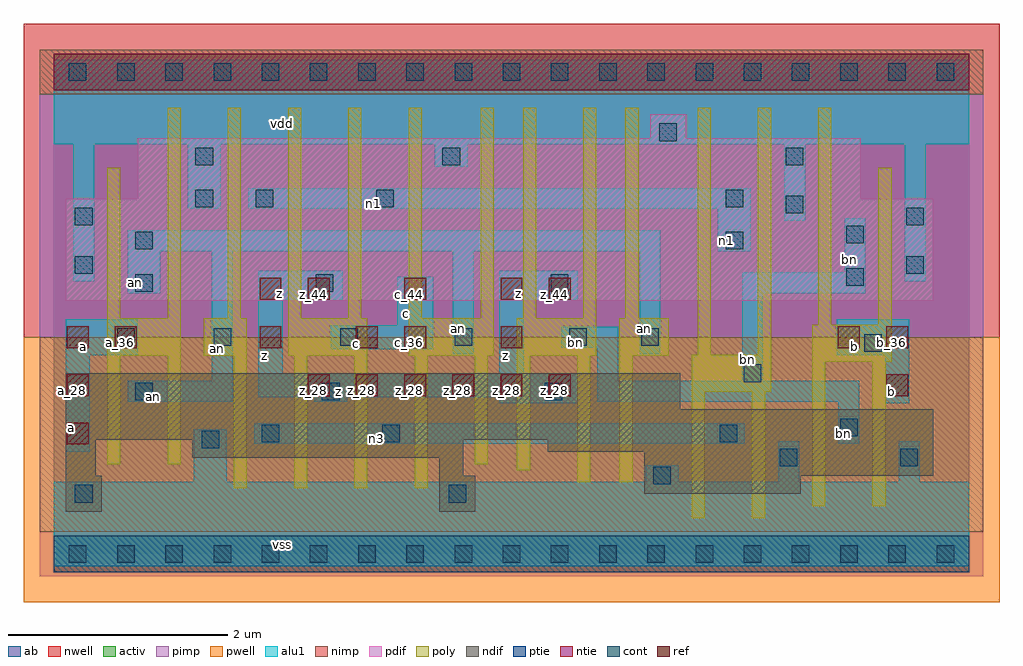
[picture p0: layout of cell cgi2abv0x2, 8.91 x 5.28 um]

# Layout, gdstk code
import gdstk
lib = gdstk.Library(unit=1e-6, precision=2.5e-09)
def R(c, l, rs):  # rectangles x0, y0, x1, y1
    for r in rs: c.add(gdstk.rectangle(r[:2], r[2:], *l))
def A(c, l, x, y, w, h, nx, ny, dx, dy):  # array of equal rectangles
    R(c, l, [(x+i*dx, y+j*dy, x+i*dx+w, y+j*dy+h) for i in range(nx) for j in range(ny)])
ndif = (3, 0)
pdif = (4, 0)
ntie = (5, 0)
ptie = (6, 0)
ref = (24, 0)
cont = (25, 0)
pwell = (41, 0)
nwell = (42, 0)
activ = (43, 0)
pimp = (44, 0)
nimp = (45, 0)
poly = (46, 0)
alu1 = (49, 0)
ab = (63, 0)

cgi2abv0x2 = lib.new_cell('cgi2abv0x2')
R(cgi2abv0x2, ndif, [(0.11,0.385,0.44,0.715), (3.52,0.385,3.85,0.715), (5.39,0.55,6.82,0.715), (0.11,0.715,0.385,1.045), (3.52,0.715,3.74,0.88), (5.39,0.715,8.03,0.935), (1.265,0.88,3.74,1.045), (4.51,0.935,8.03,1.045), (0.11,1.045,8.03,1.32), (0.11,1.32,5.72,1.65)])
R(cgi2abv0x2, pdif, [(0.11,2.31,8.03,3.245), (0.77,3.245,7.37,3.795), (5.445,3.795,5.775,4.015)])
R(cgi2abv0x2, ntie, [(0,4.235,8.36,4.565)])
R(cgi2abv0x2, ptie, [(0,-0.165,8.36,0.165)])
A(cgi2abv0x2, ref, 0.12, 1, 0.2, 0.2, 1, 3, 0, 0.44)
A(cgi2abv0x2, ref, 2.32, 1.44, 0.2, 0.2, 6, 1, 0.44, 0)
A(cgi2abv0x2, ref, 2.32, 2.32, 0.2, 0.2, 3, 1, 0.88, 0)
R(cgi2abv0x2, ref, [(7.6,1.44,7.8,1.64), (0.56,1.88,0.76,2.08), (1.88,1.88,2.08,2.08), (2.76,1.88,2.96,2.08), (3.2,1.88,3.4,2.08), (4.08,1.88,4.28,2.08), (7.16,1.88,7.36,2.08), (7.6,1.88,7.8,2.08), (1.88,2.32,2.08,2.52), (4.52,2.32,4.72,2.52)])
A(cgi2abv0x2, cont, 0.14, -0.08, 0.16, 0.16, 19, 2, 0.44, 4.4)
A(cgi2abv0x2, cont, 2.615, 1.9, 0.16, 0.16, 3, 1, 1.045, 0)
R(cgi2abv0x2, cont, [(0.195,0.47,0.355,0.63), (3.605,0.47,3.765,0.63), (5.475,0.635,5.635,0.795), (6.63,0.8,6.79,0.96), (7.73,0.8,7.89,0.96), (1.35,0.965,1.51,1.125), (1.9,1.02,2.06,1.18), (3,1.02,3.16,1.18), (6.08,1.02,6.24,1.18), (7.18,1.075,7.34,1.235), (0.745,1.405,0.905,1.565), (2.45,1.405,2.61,1.565), (4.485,1.405,4.645,1.565), (6.3,1.57,6.46,1.73), (7.4,1.845,7.56,2.005), (0.58,1.9,0.74,2.06), (1.46,1.9,1.62,2.06), (5.365,1.9,5.525,2.06), (0.745,2.395,0.905,2.555), (2.395,2.395,2.555,2.555), (4.54,2.395,4.7,2.555), (7.235,2.45,7.395,2.61), (0.195,2.56,0.355,2.72), (7.785,2.56,7.945,2.72), (0.745,2.78,0.905,2.94), (6.135,2.78,6.295,2.94), (7.235,2.835,7.395,2.995), (0.195,3,0.355,3.16), (7.785,3,7.945,3.16), (6.685,3.11,6.845,3.27), (1.295,3.165,1.455,3.325), (1.845,3.165,2.005,3.325), (2.945,3.165,3.105,3.325), (6.135,3.165,6.295,3.325), (1.295,3.55,1.455,3.71), (3.55,3.55,3.71,3.71), (6.685,3.55,6.845,3.71), (5.53,3.77,5.69,3.93)])
R(cgi2abv0x2, pwell, [(-0.275,-0.44,8.635,1.98)])
R(cgi2abv0x2, nwell, [(-0.275,1.98,8.635,4.84)])
R(cgi2abv0x2, activ, [(0,-0.165,8.36,0.165), (0.11,0.385,0.44,0.715), (3.52,0.385,3.85,0.715), (5.39,0.55,6.82,0.715), (0.11,0.715,0.385,1.045), (3.52,0.715,3.74,0.88), (5.39,0.715,8.03,0.935), (1.265,0.88,3.74,1.045), (4.51,0.935,8.03,1.045), (0.11,1.045,8.03,1.32), (0.11,1.32,5.72,1.65), (0.11,2.31,8.03,3.245), (0.77,3.245,7.37,3.795), (5.445,3.795,5.775,4.015), (0,4.235,8.36,4.565)])
R(cgi2abv0x2, pimp, [(-0.125,-0.205,8.485,0.205), (-0.125,1.98,8.485,4.195)])
R(cgi2abv0x2, nimp, [(-0.125,0.205,8.485,1.98), (-0.125,4.195,8.485,4.605)])
A(cgi2abv0x2, poly, 1.645, 0.6, 0.12, 1.21, 4, 1, 0.55, 0)
A(cgi2abv0x2, poly, 1.04, 2.15, 0.12, 1.925, 5, 1, 0.55, 0)
R(cgi2abv0x2, poly, [(5.825,0.325,5.945,1.48), (6.375,0.325,6.495,1.48), (6.925,0.435,7.045,1.755), (7.475,0.435,7.595,1.755), (4.78,0.655,4.9,1.81), (5.165,0.655,5.285,1.81), (4.23,0.765,4.35,1.81), (0.49,0.82,0.61,1.81), (1.04,0.82,1.16,1.81), (3.845,0.82,3.965,1.81), (5.825,1.48,6.55,1.82), (6.925,1.755,7.65,2.095), (0.49,1.81,1.16,2.15), (1.37,1.81,1.765,2.15), (2.14,1.81,2.865,2.15), (3.24,1.81,4.02,2.15), (4.23,1.81,4.955,2.15), (5.165,1.81,5.615,2.15), (5.88,1.82,6,4.075), (6.43,1.82,6.55,4.075), (6.98,2.095,7.1,4.075), (7.53,2.095,7.65,3.525), (0.49,2.15,0.61,3.525), (3.9,2.15,4.02,4.075), (4.285,2.15,4.405,4.075), (4.835,2.15,4.955,4.075), (5.22,2.15,5.34,4.075)])
R(cgi2abv0x2, alu1, [(0,-0.11,8.36,0.66), (1.28,0.66,1.58,1.14), (5.405,0.66,5.705,0.81), (6.615,0.66,6.805,1.03), (7.715,0.66,7.905,1.03), (0.11,0.935,0.33,1.815), (1.83,1.005,6.31,1.195), (7.165,1.005,7.355,1.39), (4.07,1.375,4.785,1.43), (7.59,1.375,7.81,1.815), (0.675,1.39,1.635,1.58), (2.38,1.39,2.68,1.43), (4.965,1.39,7.355,1.58), (1.87,1.43,4.785,1.65), (1.445,1.58,1.635,2.765), (4.965,1.58,5.155,1.885), (6.285,1.58,6.475,2.38), (1.87,1.65,2.09,2.31), (4.07,1.65,4.29,2.31), (0.11,1.815,0.77,2.145), (7.15,1.815,7.81,2.145), (3.645,1.83,3.835,2.765), (5.35,1.83,5.54,2.765), (2.53,1.87,3.465,2.09), (4.635,1.885,5.155,2.075), (3.135,2.09,3.465,2.53), (1.87,2.31,2.64,2.585), (4.07,2.31,4.785,2.585), (0.675,2.38,0.975,2.765), (6.285,2.38,7.41,2.57), (0.18,2.49,0.37,3.74), (7.77,2.49,7.96,3.74), (7.22,2.57,7.41,3.065), (0.675,2.765,5.54,2.955), (6.065,2.765,6.365,3.15), (6.67,3.04,6.86,3.74), (1.225,3.15,1.525,3.74), (1.775,3.15,6.365,3.34), (3.48,3.535,3.78,3.74), (0,3.74,8.36,4.51)])
R(cgi2abv0x2, ab, [(0,0,8.36,4.4)])
cgi2abv0x2.add(gdstk.Label('vss', (2.09,0.0825), layer=49, texttype=0))
cgi2abv0x2.add(gdstk.Label('b', (7.645,1.485), layer=49, texttype=0))
cgi2abv0x2.add(gdstk.Label('bn', (7.2125,1.1), layer=49, texttype=0))
cgi2abv0x2.add(gdstk.Label('n3', (2.95,1.0525), layer=49, texttype=0))
cgi2abv0x2.add(gdstk.Label('b', (7.315,1.8975), layer=49, texttype=0))
cgi2abv0x2.add(gdstk.Label('bn', (6.3325,1.78), layer=49, texttype=0))
cgi2abv0x2.add(gdstk.Label('bn', (7.2675,2.6925), layer=49, texttype=0))
cgi2abv0x2.add(gdstk.Label('an', (5.3975,2.0625), layer=49, texttype=0))
cgi2abv0x2.add(gdstk.Label('z', (2.5975,1.485), layer=49, texttype=0))
cgi2abv0x2.add(gdstk.Label('bn', (4.765,1.9325), layer=49, texttype=0))
cgi2abv0x2.add(gdstk.Label('z', (4.125,1.815), layer=49, texttype=0))
cgi2abv0x2.add(gdstk.Label('z', (4.2475,2.3775), layer=49, texttype=0))
cgi2abv0x2.add(gdstk.Label('an', (3.6925,2.0625), layer=49, texttype=0))
cgi2abv0x2.add(gdstk.Label('c', (2.7625,1.925), layer=49, texttype=0))
cgi2abv0x2.add(gdstk.Label('c', (3.2175,2.2), layer=49, texttype=0))
cgi2abv0x2.add(gdstk.Label('z', (1.925,1.815), layer=49, texttype=0))
cgi2abv0x2.add(gdstk.Label('z', (2.0625,2.3775), layer=49, texttype=0))
cgi2abv0x2.add(gdstk.Label('an', (0.915,1.4375), layer=49, texttype=0))
cgi2abv0x2.add(gdstk.Label('an', (1.4925,1.875), layer=49, texttype=0))
cgi2abv0x2.add(gdstk.Label('a', (0.165,1.155), layer=49, texttype=0))
cgi2abv0x2.add(gdstk.Label('a', (0.275,1.8975), layer=49, texttype=0))
cgi2abv0x2.add(gdstk.Label('an', (0.75,2.475), layer=49, texttype=0))
cgi2abv0x2.add(gdstk.Label('n1', (6.14,2.86), layer=49, texttype=0))
cgi2abv0x2.add(gdstk.Label('n1', (2.9225,3.1975), layer=49, texttype=0))
cgi2abv0x2.add(gdstk.Label('vdd', (2.09,3.9325), layer=49, texttype=0))
cgi2abv0x2.add(gdstk.Label('z_44', (4.57,2.37), layer=24, texttype=0))
cgi2abv0x2.add(gdstk.Label('z_28', (4.57,1.49), layer=24, texttype=0))
cgi2abv0x2.add(gdstk.Label('z_44', (4.13,2.37), layer=24, texttype=0))
cgi2abv0x2.add(gdstk.Label('z_36', (4.13,1.93), layer=24, texttype=0))
cgi2abv0x2.add(gdstk.Label('z_28', (4.13,1.49), layer=24, texttype=0))
cgi2abv0x2.add(gdstk.Label('z_28', (3.69,1.49), layer=24, texttype=0))
cgi2abv0x2.add(gdstk.Label('c_44', (3.25,2.37), layer=24, texttype=0))
cgi2abv0x2.add(gdstk.Label('c_36', (3.25,1.93), layer=24, texttype=0))
cgi2abv0x2.add(gdstk.Label('z_28', (3.25,1.49), layer=24, texttype=0))
cgi2abv0x2.add(gdstk.Label('c_36', (2.81,1.93), layer=24, texttype=0))
cgi2abv0x2.add(gdstk.Label('z_28', (2.81,1.49), layer=24, texttype=0))
cgi2abv0x2.add(gdstk.Label('z_44', (2.37,2.37), layer=24, texttype=0))
cgi2abv0x2.add(gdstk.Label('z_28', (2.37,1.49), layer=24, texttype=0))
cgi2abv0x2.add(gdstk.Label('a_36', (0.17,1.93), layer=24, texttype=0))
cgi2abv0x2.add(gdstk.Label('a_28', (0.17,1.49), layer=24, texttype=0))
cgi2abv0x2.add(gdstk.Label('a_20', (0.17,1.05), layer=24, texttype=0))
cgi2abv0x2.add(gdstk.Label('z_44', (1.93,2.37), layer=24, texttype=0))
cgi2abv0x2.add(gdstk.Label('z_36', (1.93,1.93), layer=24, texttype=0))
cgi2abv0x2.add(gdstk.Label('b_36', (7.65,1.93), layer=24, texttype=0))
cgi2abv0x2.add(gdstk.Label('b_28', (7.65,1.49), layer=24, texttype=0))
cgi2abv0x2.add(gdstk.Label('b_36', (7.21,1.93), layer=24, texttype=0))
cgi2abv0x2.add(gdstk.Label('a_36', (0.61,1.93), layer=24, texttype=0))

lib.write_gds('cgi2abv0x2.gds')
